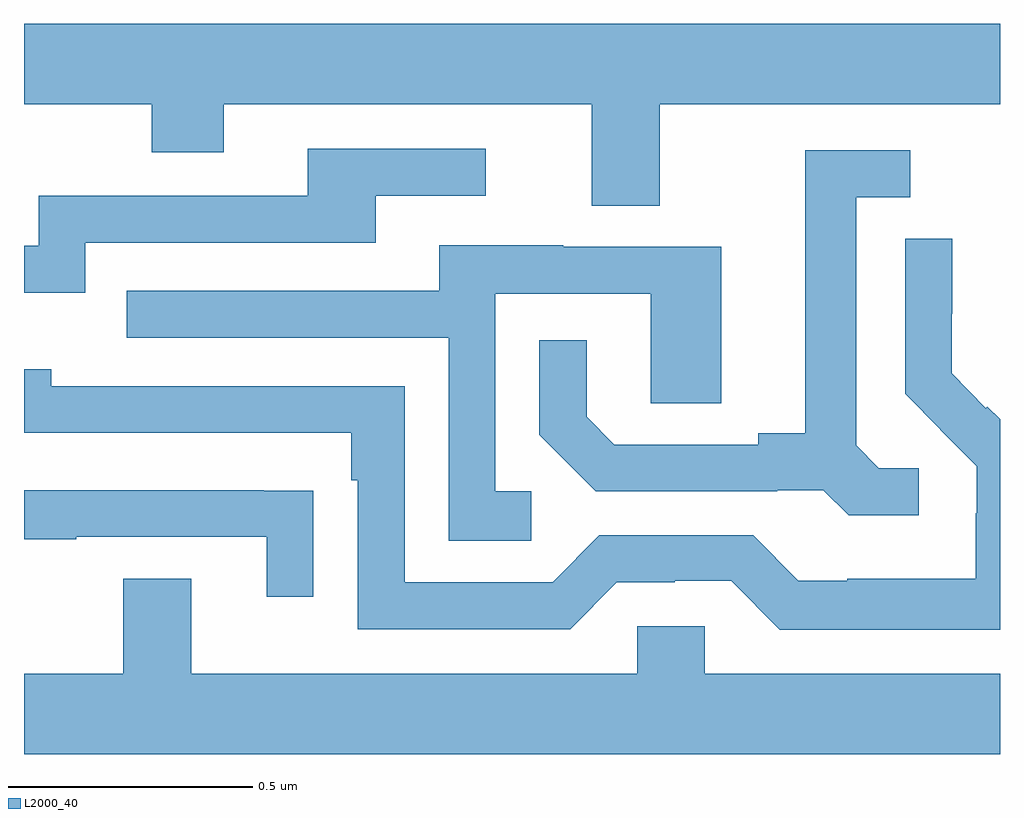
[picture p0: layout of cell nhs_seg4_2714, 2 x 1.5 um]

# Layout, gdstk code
import gdstk
lib = gdstk.Library(unit=1e-6, precision=1e-09)
def P(c, l, *ps):  # polygons
    for p in ps: c.add(gdstk.Polygon(p, *l))
L2000_40 = (2000, 40)

nhs_seg4_2714 = lib.new_cell('nhs_seg4_2714')
P(nhs_seg4_2714, L2000_40, [(145.303,779.504),(146,779.504),(146,779.668),(144,779.668),(144,779.504),(144.262,779.504),(144.262,779.405),(144.409,779.405),(144.409,779.504),(145.163,779.504),(145.163,779.296),(145.303,779.296)],
  [(144.126,779.22),(144.721,779.22),(144.721,779.316),(144.946,779.316),(144.946,779.412),(144.581,779.412),(144.581,779.316),(144.03,779.316),(144.03,779.214),(144,779.214),(144,779.117),(144.126,779.117)],
  [(145.834,778.758),(145.752,778.758),(145.705,778.805),(145.705,779.313),(145.816,779.313),(145.816,779.409),(145.601,779.409),(145.601,778.829),(145.505,778.829),(145.505,778.806),(145.21,778.806),(145.153,778.863),(145.153,779.02),(145.056,779.02),(145.056,778.826),(145.172,778.71),(145.544,778.71),(145.544,778.713),(145.638,778.713),(145.69,778.661),(145.834,778.661)],
  [(146,778.858),(145.974,778.884),(145.971,778.881),(145.901,778.952),(145.901,779.074),(145.902,779.074),(145.902,779.228),(145.806,779.228),(145.806,778.91),(145.879,778.837),(145.878,778.836),(145.952,778.762),(145.952,778.665),(145.95,778.665),(145.95,778.531),(145.687,778.531),(145.687,778.527),(145.587,778.527),(145.494,778.62),(145.179,778.62),(145.083,778.524),(144.78,778.524),(144.78,778.926),(144.056,778.926),(144.056,778.96),(144,778.96),(144,778.83),(144.671,778.83),(144.671,778.733),(144.684,778.733),(144.684,778.428),(145.119,778.428),(145.215,778.524),(145.334,778.524),(145.334,778.527),(145.449,778.527),(145.549,778.427),(146,778.427)],
  [(145.039,778.71),(144.966,778.71),(144.966,779.115),(145.284,779.115),(145.284,778.891),(145.429,778.891),(145.429,779.211),(145.105,779.211),(145.105,779.215),(144.851,779.215),(144.851,779.121),(144.211,779.121),(144.211,779.025),(144.87,779.025),(144.87,778.609),(145.039,778.609)],
  [(144.593,778.712),(144.491,778.712),(144.491,778.713),(144,778.713),(144,778.612),(144.107,778.612),(144.107,778.617),(144.497,778.617),(144.497,778.494),(144.593,778.494)],
  [(146,778.336),(145.395,778.336),(145.395,778.434),(145.257,778.434),(145.257,778.336),(144.343,778.336),(144.343,778.531),(144.203,778.531),(144.203,778.336),(144,778.336),(144,778.172),(146,778.172)])

lib.write_gds('nhs_seg4_2714.gds')
